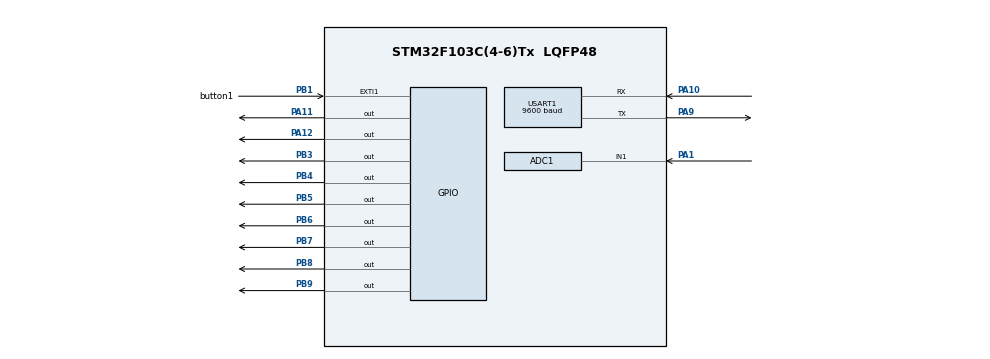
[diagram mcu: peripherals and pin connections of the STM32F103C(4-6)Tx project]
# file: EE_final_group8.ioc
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ADC1.Channel-0\#ChannelRegularConversion=ADC_CHANNEL_1
ADC1.NbrOfConversionFlag=1
ADC1.Rank-0\#ChannelRegularConversion=1
ADC1.SamplingTime-0\#ChannelRegularConversion=ADC_SAMPLETIME_1CYCLE_5
ADC1.master=1
Mcu.Family=STM32F1
Mcu.Name=STM32F103C(4-6)Tx
Mcu.Package=LQFP48
NVIC.EXTI1_IRQn=true\:2\:0\:true\:false\:true\:true\:true\:true
NVIC.PriorityGroup=NVIC_PRIORITYGROUP_4
NVIC.TIM2_IRQn=true\:0\:0\:false\:false\:true\:true\:true\:true
PA1.Signal=ADCx_IN1
PA10.Mode=Asynchronous
PA10.Signal=USART1_RX
PA11.Signal=GPIO_Output
PA12.Signal=GPIO_Output
PA9.Mode=Asynchronous
PA9.Signal=USART1_TX
PB1.GPIO_Label=button1
PB1.Signal=GPXTI1
PB3.Signal=GPIO_Output
PB4.Signal=GPIO_Output
PB5.Signal=GPIO_Output
PB6.Signal=GPIO_Output
PB7.Signal=GPIO_Output
PB8.Signal=GPIO_Output
PB9.Signal=GPIO_Output
PD0-OSC_IN.Mode=HSE-External-Oscillator
PD0-OSC_IN.Signal=RCC_OSC_IN
PD1-OSC_OUT.Mode=HSE-External-Oscillator
PD1-OSC_OUT.Signal=RCC_OSC_OUT
ProjectManager.HeapSize=0x200
ProjectManager.StackSize=0x400
ProjectManager.TargetToolchain=STM32CubeIDE
RCC.APB1Freq_Value=8000000
RCC.APB2Freq_Value=8000000
SH.ADCx_IN1.0=ADC1_IN1,IN1
TIM2.Period=63999
TIM2.Prescaler=624
USART1.BaudRate=9600
USART1.VirtualMode=VM_ASYNC
VP_TIM2_VS_ClockSourceINT.Mode=Internal
board=custom

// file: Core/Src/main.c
/* USER CODE BEGIN Header */
/**
  ******************************************************************************
  * @file           : main.c
  * @brief          : Main program body
  ******************************************************************************
  * @attention
  *
  * Copyright (c) 2023 STMicroelectronics.
  * All rights reserved.
  *
  * This software is licensed under terms that can be found in the LICENSE file
  * in the root directory of this software component.
  * If no LICENSE file comes with this software, it is provided AS-IS.
  *
  ******************************************************************************
  */
/* USER CODE END Header */
#include "main.h"

/* USER CODE BEGIN Includes */
#include <stdio.h>
#include <string.h>
#include "LiquidCrystal.h"

/* USER CODE END Includes */

/* USER CODE BEGIN PD */
#define DHT11_GPIO_Port GPIOA
#define DHT11_Pin GPIO_PIN_0
/* USER CODE END PD */

ADC_HandleTypeDef hadc1;

TIM_HandleTypeDef htim2;

UART_HandleTypeDef huart1;

void SystemClock_Config(void);
static void MX_GPIO_Init(void);
static void MX_ADC1_Init(void);
static void MX_TIM2_Init(void);
static void MX_USART1_UART_Init(void);

/* USER CODE BEGIN 0 */

uint32_t adcValue;
float temperature;
char buffer[50];
char lcdBuffer[50];
float threshold = 32.0;
//GPIO_PinState button_value_current =GPIO_PIN_RESET;
//GPIO_PinState button_value_previous =GPIO_PIN_RESET;
float sum=0;
float count=0;
float ort=0;

uint8_t humidity = 80;

void DHT11_ReadData(uint8_t* humidity, uint8_t* temperature)
{
    uint8_t data[5] = {0};
    uint8_t byteIdx, bitIdx;

    // Initialization
    HAL_GPIO_WritePin(DHT11_GPIO_Port, DHT11_Pin, GPIO_PIN_RESET);
    HAL_Delay(18);
    HAL_GPIO_WritePin(DHT11_GPIO_Port, DHT11_Pin, GPIO_PIN_SET);
    HAL_Delay(20);
    HAL_Delay(40);

    // Check response signal
    if (HAL_GPIO_ReadPin(DHT11_GPIO_Port, DHT11_Pin) == GPIO_PIN_RESET)
    {
        while (HAL_GPIO_ReadPin(DHT11_GPIO_Port, DHT11_Pin) == GPIO_PIN_RESET)
        {
            // Wait for the start signal
        }

        while (HAL_GPIO_ReadPin(DHT11_GPIO_Port, DHT11_Pin) == GPIO_PIN_SET)
        {
            // Wait for the data transmission start
        }

        // Read data bits
        for (byteIdx = 0; byteIdx < 5; byteIdx++)
        {
            for (bitIdx = 0; bitIdx < 8; bitIdx++)
            {
                while (HAL_GPIO_ReadPin(DHT11_GPIO_Port, DHT11_Pin) == GPIO_PIN_RESET)
                {
                    // Wait for the start of a bit
                }

                HAL_Delay(30);

                if (HAL_GPIO_ReadPin(DHT11_GPIO_Port, DHT11_Pin) == GPIO_PIN_SET)
                {
                    data[byteIdx] |= (1 << (7 - bitIdx));
                }

                while (HAL_GPIO_ReadPin(DHT11_GPIO_Port, DHT11_Pin) == GPIO_PIN_SET)
                {
                    // Wait for the end of a bit
                }
            }
        }

        // Verify the checksum
        if (data[4] == (data[0] + data[1] + data[2] + data[3]))
        {
            *humidity = data[0];
            *temperature = data[2];
        }
    }
}

/* USER CODE END 0 */

int main(void)
{

  /* MCU Configuration--------------------------------------------------------*/

  /* Reset of all peripherals, Initializes the Flash interface and the Systick. */
  HAL_Init();

  /* Configure the system clock */
  SystemClock_Config();

  /* Initialize all configured peripherals */
  MX_GPIO_Init();
  MX_ADC1_Init();
  MX_TIM2_Init();
  MX_USART1_UART_Init();
  /* USER CODE BEGIN 2 */
	HAL_ADCEx_Calibration_Start(&hadc1);
	HAL_TIM_Base_Start_IT(&htim2);
	adcValue = 0;

	LiquidCrystal(GPIOB, GPIO_PIN_3,GPIO_PIN_4,GPIO_PIN_5,GPIO_PIN_6 ,GPIO_PIN_7,GPIO_PIN_8,GPIO_PIN_9);
	begin(20,4);

	setCursor(0, 0);
	print("28<OPTIMUM<35");
	setCursor(0, 1);
	print("OTHER: DANGER");
  /* USER CODE END 2 */

  /* Infinite loop */
  /* USER CODE BEGIN WHILE */
  while (1)
  {
	  //sprintf(lcdBuffer, "TEMP: %.1f C", threshold);
	  //setCursor(0, 0);
	  //print(lcdBuffer);
	  //HAL_Delay(100);
	  //clear();
		//button_value_previous = button_value_current;
		//button_value_current = HAL_GPIO_ReadPin(button_GPIO_Port,button_Pin);

//		adcValue = 0;
//
//		HAL_ADC_Start(&hadc1);
//
//		if (HAL_ADC_PollForConversion(&hadc1, 100) == HAL_OK)
//		{
//			adcValue = HAL_ADC_GetValue(&hadc1);
//
//			float voltage = (float)adcValue * 3.3 / 4096.0;
//			temperature = voltage * 100.0;
//			//HAL_UART_Transmit(&huart1, (uint8_t*)buffer, strlen(buffer), HAL_MAX_DELAY);
//
//		sprintf(buffer, "Temp: %.1f C\r\n", temperature);
//			sum=sum+temperature;
//			count=count+1;
//
//    HAL_UART_Transmit(&huart1, (uint8_t*)buffer, strlen(buffer), HAL_MAX_DELAY);

//    if (temperature > threshold) {
//      sprintf(buffer, "FIRE ALARM!\r\n");
//
//			//sum=sum+temperature;
//			//count=count+1;
//      HAL_UART_Transmit(&huart1, (uint8_t*)buffer, strlen(buffer), HAL_MAX_DELAY);
//    }

//    HAL_Delay(5000);
//
//
    /* USER CODE END WHILE */

    /* USER CODE BEGIN 3 */
//	}

//--------------------------------------------------------------------------------------------------------------
//		if(button_value_current == GPIO_PIN_SET && button_value_current != button_value_previous)
//
//		{
//			HAL_ADC_Start_IT(&hadc1);
//        if (HAL_ADC_PollForConversion(&hadc1, 100) == HAL_OK)
//        {
//					adcValue = HAL_ADC_GetValue(&hadc1);
//
//					float voltage = (float)adcValue * 3.3 / 4096.0;
//					temperature = voltage * 100.0;
//					sprintf(buffer, "avarage temp: %.1f C\r\n", ort);
//					HAL_UART_Transmit(&huart1, (uint8_t*)buffer, strlen(buffer), HAL_MAX_DELAY);
//					sprintf(buffer, "read count: %.1f C\r\n", count);
//
//					HAL_UART_Transmit(&huart1, (uint8_t*)buffer, strlen(buffer), HAL_MAX_DELAY);
//
//        }
//        HAL_ADC_Stop_IT(&hadc1);
//
//    }

  }
  /* USER CODE END 3 */
}

void SystemClock_Config(void)
{
  RCC_OscInitTypeDef RCC_OscInitStruct = {0};
  RCC_ClkInitTypeDef RCC_ClkInitStruct = {0};
  RCC_PeriphCLKInitTypeDef PeriphClkInit = {0};

  /** Initializes the RCC Oscillators according to the specified parameters
  * in the RCC_OscInitTypeDef structure.
  */
  RCC_OscInitStruct.OscillatorType = RCC_OSCILLATORTYPE_HSI;
  RCC_OscInitStruct.HSIState = RCC_HSI_ON;
  RCC_OscInitStruct.HSICalibrationValue = RCC_HSICALIBRATION_DEFAULT;
  RCC_OscInitStruct.PLL.PLLState = RCC_PLL_NONE;
  if (HAL_RCC_OscConfig(&RCC_OscInitStruct) != HAL_OK)
  {
    Error_Handler();
  }

  /** Initializes the CPU, AHB and APB buses clocks
  */
  RCC_ClkInitStruct.ClockType = RCC_CLOCKTYPE_HCLK|RCC_CLOCKTYPE_SYSCLK
                              |RCC_CLOCKTYPE_PCLK1|RCC_CLOCKTYPE_PCLK2;
  RCC_ClkInitStruct.SYSCLKSource = RCC_SYSCLKSOURCE_HSI;
  RCC_ClkInitStruct.AHBCLKDivider = RCC_SYSCLK_DIV1;
  RCC_ClkInitStruct.APB1CLKDivider = RCC_HCLK_DIV1;
  RCC_ClkInitStruct.APB2CLKDivider = RCC_HCLK_DIV1;

  if (HAL_RCC_ClockConfig(&RCC_ClkInitStruct, FLASH_LATENCY_0) != HAL_OK)
  {
    Error_Handler();
  }
  PeriphClkInit.PeriphClockSelection = RCC_PERIPHCLK_ADC;
  PeriphClkInit.AdcClockSelection = RCC_ADCPCLK2_DIV2;
  if (HAL_RCCEx_PeriphCLKConfig(&PeriphClkInit) != HAL_OK)
  {
    Error_Handler();
  }
}

static void MX_ADC1_Init(void)
{

  ADC_ChannelConfTypeDef sConfig = {0};

  /** Common config
  */
  hadc1.Instance = ADC1;
  hadc1.Init.ScanConvMode = ADC_SCAN_DISABLE;
  hadc1.Init.ContinuousConvMode = DISABLE;
  hadc1.Init.DiscontinuousConvMode = DISABLE;
  hadc1.Init.ExternalTrigConv = ADC_SOFTWARE_START;
  hadc1.Init.DataAlign = ADC_DATAALIGN_RIGHT;
  hadc1.Init.NbrOfConversion = 1;
  if (HAL_ADC_Init(&hadc1) != HAL_OK)
  {
    Error_Handler();
  }

  /** Configure Regular Channel
  */
  sConfig.Channel = ADC_CHANNEL_1;
  sConfig.Rank = ADC_REGULAR_RANK_1;
  sConfig.SamplingTime = ADC_SAMPLETIME_1CYCLE_5;
  if (HAL_ADC_ConfigChannel(&hadc1, &sConfig) != HAL_OK)
  {
    Error_Handler();
  }

}

static void MX_TIM2_Init(void)
{

  TIM_ClockConfigTypeDef sClockSourceConfig = {0};
  TIM_MasterConfigTypeDef sMasterConfig = {0};

  htim2.Instance = TIM2;
  htim2.Init.Prescaler = 624;
  htim2.Init.CounterMode = TIM_COUNTERMODE_UP;
  htim2.Init.Period = 63999;
  htim2.Init.ClockDivision = TIM_CLOCKDIVISION_DIV1;
  htim2.Init.AutoReloadPreload = TIM_AUTORELOAD_PRELOAD_DISABLE;
  if (HAL_TIM_Base_Init(&htim2) != HAL_OK)
  {
    Error_Handler();
  }
  sClockSourceConfig.ClockSource = TIM_CLOCKSOURCE_INTERNAL;
  if (HAL_TIM_ConfigClockSource(&htim2, &sClockSourceConfig) != HAL_OK)
  {
    Error_Handler();
  }
  sMasterConfig.MasterOutputTrigger = TIM_TRGO_RESET;
  sMasterConfig.MasterSlaveMode = TIM_MASTERSLAVEMODE_DISABLE;
  if (HAL_TIMEx_MasterConfigSynchronization(&htim2, &sMasterConfig) != HAL_OK)
  {
    Error_Handler();
  }

}

static void MX_USART1_UART_Init(void)
{

  huart1.Instance = USART1;
  huart1.Init.BaudRate = 9600;
  huart1.Init.WordLength = UART_WORDLENGTH_8B;
  huart1.Init.StopBits = UART_STOPBITS_1;
  huart1.Init.Parity = UART_PARITY_NONE;
  huart1.Init.Mode = UART_MODE_TX_RX;
  huart1.Init.HwFlowCtl = UART_HWCONTROL_NONE;
  huart1.Init.OverSampling = UART_OVERSAMPLING_16;
  if (HAL_UART_Init(&huart1) != HAL_OK)
  {
    Error_Handler();
  }

}

static void MX_GPIO_Init(void)
{
  GPIO_InitTypeDef GPIO_InitStruct = {0};

  /* GPIO Ports Clock Enable */
  __HAL_RCC_GPIOD_CLK_ENABLE();
  __HAL_RCC_GPIOA_CLK_ENABLE();
  __HAL_RCC_GPIOB_CLK_ENABLE();

  /*Configure GPIO pin Output Level */
  HAL_GPIO_WritePin(GPIOA, GPIO_PIN_11|GPIO_PIN_12, GPIO_PIN_RESET);

  /*Configure GPIO pin Output Level */
  HAL_GPIO_WritePin(GPIOB, GPIO_PIN_3|GPIO_PIN_4|GPIO_PIN_5|GPIO_PIN_6
                          |GPIO_PIN_7|GPIO_PIN_8|GPIO_PIN_9, GPIO_PIN_RESET);

  /*Configure GPIO pin : button1_Pin */
  GPIO_InitStruct.Pin = button1_Pin;
  GPIO_InitStruct.Mode = GPIO_MODE_IT_RISING;
  GPIO_InitStruct.Pull = GPIO_NOPULL;
  HAL_GPIO_Init(button1_GPIO_Port, &GPIO_InitStruct);

  /*Configure GPIO pins : PA11 PA12 */
  GPIO_InitStruct.Pin = GPIO_PIN_11|GPIO_PIN_12;
  GPIO_InitStruct.Mode = GPIO_MODE_OUTPUT_PP;
  GPIO_InitStruct.Pull = GPIO_NOPULL;
  GPIO_InitStruct.Speed = GPIO_SPEED_FREQ_LOW;
  HAL_GPIO_Init(GPIOA, &GPIO_InitStruct);

  /*Configure GPIO pins : PB3 PB4 PB5 PB6
                           PB7 PB8 PB9 */
  GPIO_InitStruct.Pin = GPIO_PIN_3|GPIO_PIN_4|GPIO_PIN_5|GPIO_PIN_6
                          |GPIO_PIN_7|GPIO_PIN_8|GPIO_PIN_9;
  GPIO_InitStruct.Mode = GPIO_MODE_OUTPUT_PP;
  GPIO_InitStruct.Pull = GPIO_NOPULL;
  GPIO_InitStruct.Speed = GPIO_SPEED_FREQ_LOW;
  HAL_GPIO_Init(GPIOB, &GPIO_InitStruct);

  /* EXTI interrupt init*/
  HAL_NVIC_SetPriority(EXTI1_IRQn, 2, 0);
  HAL_NVIC_EnableIRQ(EXTI1_IRQn);

}

/* USER CODE BEGIN 4 */
void tempread(){
	HAL_ADC_Start(&hadc1);
        if (HAL_ADC_PollForConversion(&hadc1, 100) == HAL_OK)
        {
					adcValue = HAL_ADC_GetValue(&hadc1);
					ort=sum/count;
					float voltage = (float)adcValue * 3.3 / 4095.0;
					temperature = voltage * 100.0;
					sprintf(buffer, "average temp: %.1f C\r\n", ort);
					HAL_UART_Transmit(&huart1, (uint8_t*)buffer, strlen(buffer), HAL_MAX_DELAY);

					sprintf(buffer, "read count: %.1f C\r\n", count);

					HAL_UART_Transmit(&huart1, (uint8_t*)buffer, strlen(buffer), HAL_MAX_DELAY);

        }
        //HAL_ADC_Stop(&hadc1);
}
void tempread_periodic(){
		HAL_ADC_Start(&hadc1);

		if (HAL_ADC_PollForConversion(&hadc1, 100) == HAL_OK)
		{
			adcValue = HAL_ADC_GetValue(&hadc1);

			float voltage = (float)adcValue * 3.3 / 4096.0;
			temperature = voltage * 100.0;
			threshold = temperature;
			//HAL_UART_Transmit(&huart1, (uint8_t*)buffer, strlen(buffer), HAL_MAX_DELAY);

			sprintf(buffer, "Temp: %.1f C\r\n", temperature);
			sum=sum+temperature;
			count=count+1;

			HAL_UART_Transmit(&huart1, (uint8_t*)buffer, strlen(buffer), HAL_MAX_DELAY);
			sprintf(buffer, "read counter: %.1f \r\n", count);

			HAL_UART_Transmit(&huart1, (uint8_t*)buffer, strlen(buffer), HAL_MAX_DELAY);
			//HAL_ADC_Stop(&hadc1);
			if(temperature>28 && temperature<35){
				HAL_GPIO_WritePin(GPIOA, GPIO_PIN_11,GPIO_PIN_RESET);
				HAL_GPIO_WritePin(GPIOA, GPIO_PIN_12,GPIO_PIN_SET);
			}else {
				HAL_GPIO_WritePin(GPIOA, GPIO_PIN_12,GPIO_PIN_RESET);
				HAL_GPIO_WritePin(GPIOA, GPIO_PIN_11,GPIO_PIN_SET);
			}
    }
}

void read_humidity()
{
	//DHT11_ReadData(&humidity, &temperature);

	sprintf(buffer, "Humidity: %d%%\r\n", humidity);
	HAL_UART_Transmit(&huart1, (uint8_t*)buffer, strlen(buffer), HAL_MAX_DELAY);
}

void HAL_TIM_PeriodElapsedCallback(TIM_HandleTypeDef *htim){
   UNUSED (htim);
	 //HAL_GPIO_TogglePin(GPIOA, GPIO_PIN_12);
	tempread_periodic();
	read_humidity();

}

/* USER CODE END 4 */

void Error_Handler(void)
{
  __disable_irq();
  while (1)
  {
  }
}
